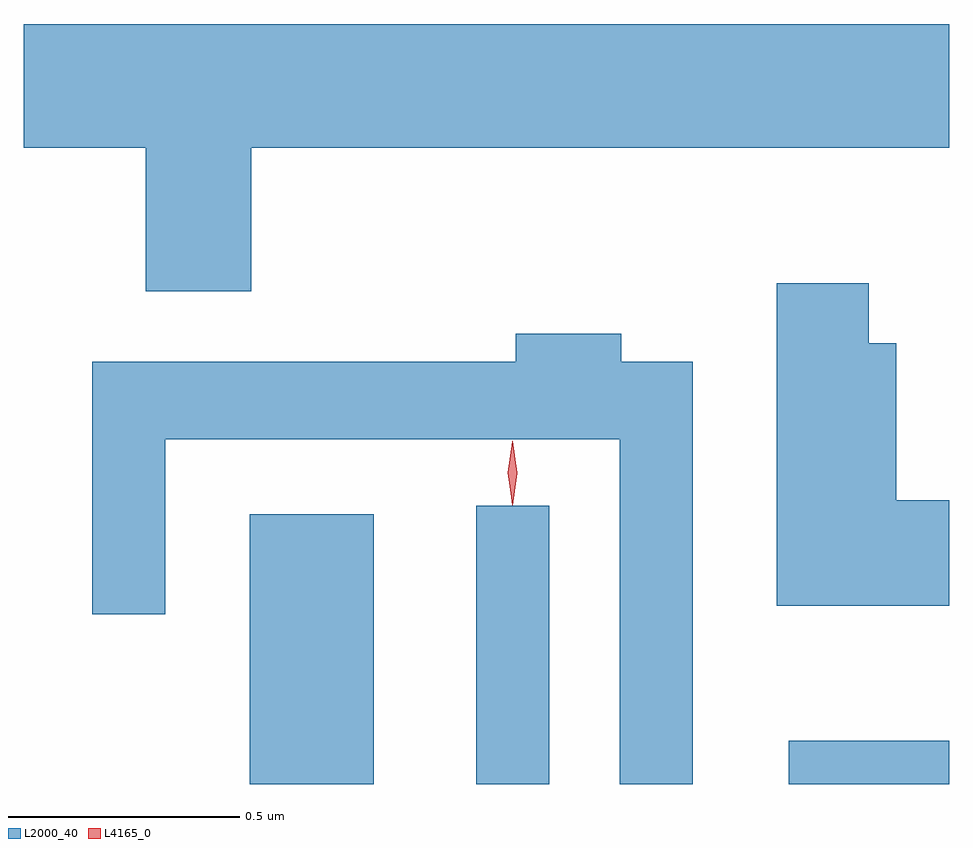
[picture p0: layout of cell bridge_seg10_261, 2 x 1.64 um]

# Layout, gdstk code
import gdstk
lib = gdstk.Library(unit=1e-6, precision=1e-09)
def R(c, l, rs):  # rectangles x0, y0, x1, y1
    for r in rs: c.add(gdstk.rectangle(r[:2], r[2:], *l))
def P(c, l, *ps):  # polygons
    for p in ps: c.add(gdstk.Polygon(p, *l))
L2000_40 = (2000, 40)
L4165_0 = (4165, 0)

bridge_seg10_261 = lib.new_cell('bridge_seg10_261')
R(bridge_seg10_261, L2000_40, [(1799.606,2101.441,1799.874,2102.024), (1800.096,2101.441,1800.254,2102.043), (1800.771,2101.441,1801.118,2101.534)])
P(bridge_seg10_261, L2000_40, [(1799.609,2102.816),(1801.118,2102.816),(1801.118,2103.084),(1799.118,2103.084),(1799.118,2102.816),(1799.381,2102.816),(1799.381,2102.506),(1799.609,2102.506)],
  [(1801.118,2102.054),(1801.004,2102.054),(1801.004,2102.394),(1800.944,2102.394),(1800.944,2102.524),(1800.746,2102.524),(1800.746,2101.826),(1801.118,2101.826)],
  [(1800.564,2102.354),(1800.409,2102.354),(1800.409,2102.414),(1800.181,2102.414),(1800.181,2102.354),(1799.266,2102.354),(1799.266,2101.808),(1799.424,2101.808),(1799.424,2102.186),(1800.406,2102.186),(1800.406,2101.441),(1800.564,2101.441)])
P(bridge_seg10_261, L4165_0, [(1800.174,2102.047),(1800.174,2102.048),(1800.164,2102.114),(1800.174,2102.18),(1800.174,2102.18),(1800.175,2102.18),(1800.184,2102.114),(1800.175,2102.048)],
  [(1800.174,2102.044),(1800.165,2102.113),(1800.174,2102.182),(1800.175,2102.183),(1800.175,2102.182),(1800.185,2102.113),(1800.175,2102.044),(1800.175,2102.044)])

lib.write_gds('bridge_seg10_261.gds')
